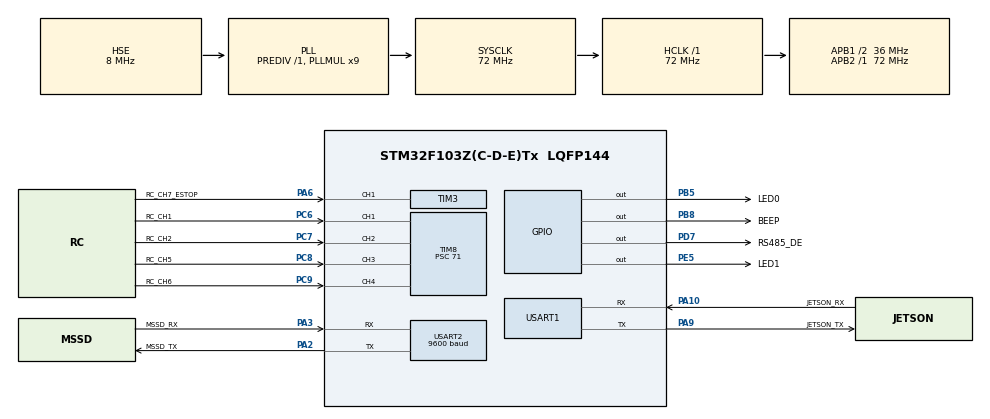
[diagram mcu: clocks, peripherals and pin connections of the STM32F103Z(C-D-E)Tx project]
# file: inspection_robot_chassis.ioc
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Dma.Request0=USART1_RX
Dma.Request1=USART1_TX
Dma.Request2=USART2_RX
Dma.Request3=USART2_TX
Dma.USART1_RX.0.Direction=DMA_PERIPH_TO_MEMORY
Dma.USART1_RX.0.Instance=DMA1_Channel5
Dma.USART1_RX.0.MemDataAlignment=DMA_MDATAALIGN_BYTE
Dma.USART1_RX.0.MemInc=DMA_MINC_ENABLE
Dma.USART1_RX.0.Mode=DMA_CIRCULAR
Dma.USART1_RX.0.PeriphDataAlignment=DMA_PDATAALIGN_BYTE
Dma.USART1_RX.0.PeriphInc=DMA_PINC_DISABLE
Dma.USART1_RX.0.Priority=DMA_PRIORITY_HIGH
Dma.USART1_TX.1.Direction=DMA_MEMORY_TO_PERIPH
Dma.USART1_TX.1.Instance=DMA1_Channel4
Dma.USART1_TX.1.MemDataAlignment=DMA_MDATAALIGN_BYTE
Dma.USART1_TX.1.MemInc=DMA_MINC_ENABLE
Dma.USART1_TX.1.Mode=DMA_NORMAL
Dma.USART1_TX.1.PeriphDataAlignment=DMA_PDATAALIGN_BYTE
Dma.USART1_TX.1.PeriphInc=DMA_PINC_DISABLE
Dma.USART1_TX.1.Priority=DMA_PRIORITY_MEDIUM
Dma.USART2_RX.2.Direction=DMA_PERIPH_TO_MEMORY
Dma.USART2_RX.2.Instance=DMA1_Channel6
Dma.USART2_RX.2.MemDataAlignment=DMA_MDATAALIGN_BYTE
Dma.USART2_RX.2.MemInc=DMA_MINC_ENABLE
Dma.USART2_RX.2.Mode=DMA_CIRCULAR
Dma.USART2_RX.2.PeriphDataAlignment=DMA_PDATAALIGN_BYTE
Dma.USART2_RX.2.PeriphInc=DMA_PINC_DISABLE
Dma.USART2_RX.2.Priority=DMA_PRIORITY_VERY_HIGH
Dma.USART2_TX.3.Direction=DMA_MEMORY_TO_PERIPH
Dma.USART2_TX.3.Instance=DMA1_Channel7
Dma.USART2_TX.3.MemDataAlignment=DMA_MDATAALIGN_BYTE
Dma.USART2_TX.3.MemInc=DMA_MINC_ENABLE
Dma.USART2_TX.3.Mode=DMA_NORMAL
Dma.USART2_TX.3.PeriphDataAlignment=DMA_PDATAALIGN_BYTE
Dma.USART2_TX.3.PeriphInc=DMA_PINC_DISABLE
Dma.USART2_TX.3.Priority=DMA_PRIORITY_HIGH
Mcu.Family=STM32F1
Mcu.Name=STM32F103Z(C-D-E)Tx
Mcu.Package=LQFP144
NVIC.DMA1_Channel4_IRQn=true\:3\:0\:true\:false\:true\:false\:true\:true
NVIC.DMA1_Channel5_IRQn=true\:3\:0\:true\:false\:true\:false\:true\:true
NVIC.DMA1_Channel6_IRQn=true\:1\:0\:true\:false\:true\:false\:true\:true
NVIC.DMA1_Channel7_IRQn=true\:1\:0\:true\:false\:true\:false\:true\:true
NVIC.PriorityGroup=NVIC_PRIORITYGROUP_4
NVIC.TIM3_IRQn=true\:0\:0\:false\:false\:true\:true\:true\:true
NVIC.TIM8_CC_IRQn=true\:2\:0\:true\:false\:true\:true\:true\:true
NVIC.USART1_IRQn=true\:3\:0\:true\:false\:true\:true\:true\:true
NVIC.USART2_IRQn=true\:1\:0\:true\:false\:true\:true\:true\:true
OSC_IN.Mode=HSE-External-Oscillator
OSC_IN.Signal=RCC_OSC_IN
OSC_OUT.Mode=HSE-External-Oscillator
OSC_OUT.Signal=RCC_OSC_OUT
PA10.GPIO_Label=JETSON_RX
PA10.Mode=Asynchronous
PA10.Signal=USART1_RX
PA13.Mode=Serial_Wire
PA13.Signal=SYS_JTMS-SWDIO
PA14.Mode=Serial_Wire
PA14.Signal=SYS_JTCK-SWCLK
PA2.GPIO_Label=MSSD_TX
PA2.Mode=Asynchronous
PA2.Signal=USART2_TX
PA3.GPIO_Label=MSSD_RX
PA3.Mode=Asynchronous
PA3.Signal=USART2_RX
PA6.GPIO_Label=RC_CH7_ESTOP
PA6.Signal=S_TIM3_CH1
PA9.GPIO_Label=JETSON_TX
PA9.Mode=Asynchronous
PA9.Signal=USART1_TX
PB5.GPIO_Label=LED0
PB5.PinState=GPIO_PIN_SET
PB5.Signal=GPIO_Output
PB8.GPIO_Label=BEEP
PB8.Signal=GPIO_Output
PC6.GPIO_Label=RC_CH1
PC6.Signal=S_TIM8_CH1
PC7.GPIO_Label=RC_CH2
PC7.Signal=S_TIM8_CH2
PC8.GPIO_Label=RC_CH5
PC8.Signal=S_TIM8_CH3
PC9.GPIO_Label=RC_CH6
PC9.Signal=S_TIM8_CH4
PD7.GPIO_Label=RS485_DE
PD7.GPIO_PuPd=GPIO_NOPULL
PD7.Signal=GPIO_Output
PE5.GPIO_Label=LED1
PE5.PinState=GPIO_PIN_SET
PE5.Signal=GPIO_Output
ProjectManager.HeapSize=0x200
ProjectManager.StackSize=0x400
ProjectManager.TargetToolchain=CMake
RCC.AHBFreq_Value=72000000
RCC.APB1CLKDivider=RCC_HCLK_DIV2
RCC.APB1Freq_Value=36000000
RCC.APB1TimFreq_Value=72000000
RCC.APB2Freq_Value=72000000
RCC.APB2TimFreq_Value=72000000
RCC.HCLKFreq_Value=72000000
RCC.PLLMUL=RCC_PLL_MUL9
RCC.PLLSourceVirtual=RCC_PLLSOURCE_HSE
RCC.SYSCLKFreq_VALUE=72000000
RCC.SYSCLKSource=RCC_SYSCLKSOURCE_PLLCLK
RCC.USBFreq_Value=72000000
SH.S_TIM3_CH1.0=TIM3_CH1,Input_Capture1_from_TI1
SH.S_TIM8_CH1.0=TIM8_CH1,Input_Capture1_from_TI1
SH.S_TIM8_CH2.0=TIM8_CH2,Input_Capture2_from_TI2
SH.S_TIM8_CH3.0=TIM8_CH3,Input_Capture3_from_TI3
SH.S_TIM8_CH4.0=TIM8_CH4,Input_Capture4_from_TI4
TIM3.Channel-Input_Capture1_from_TI1=TIM_CHANNEL_1
TIM3.ICFilter_CH1=8
TIM3.Prescaler=71
TIM8.Channel-Input_Capture1_from_TI1=TIM_CHANNEL_1
TIM8.Channel-Input_Capture2_from_TI2=TIM_CHANNEL_2
TIM8.Channel-Input_Capture3_from_TI3=TIM_CHANNEL_3
TIM8.Channel-Input_Capture4_from_TI4=TIM_CHANNEL_4
TIM8.ICFilter_CH1=8
TIM8.ICFilter_CH2=8
TIM8.ICFilter_CH3=8
TIM8.ICFilter_CH4=8
TIM8.ICPolarity_CH1=TIM_INPUTCHANNELPOLARITY_RISING
TIM8.Prescaler=71
USART1.VirtualMode=VM_ASYNC
USART2.BaudRate=9600
USART2.VirtualMode=VM_ASYNC
VP_TIM3_VS_ClockSourceINT.Mode=Internal
VP_TIM8_VS_ClockSourceINT.Mode=Internal
board=custom

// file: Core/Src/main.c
/* USER CODE BEGIN Header */
/**
  ******************************************************************************
  * @file           : main.c
  * @brief          : Main program body
  ******************************************************************************
  * @attention
  *
  * Copyright (c) 2026 STMicroelectronics.
  * All rights reserved.
  *
  * This software is licensed under terms that can be found in the LICENSE file
  * in the root directory of this software component.
  * If no LICENSE file comes with this software, it is provided AS-IS.
  *
  ******************************************************************************
  */
/* USER CODE END Header */
#include "main.h"
#include "dma.h"
#include "tim.h"
#include "usart.h"
#include "gpio.h"

/* USER CODE BEGIN Includes */
#include "chassis_app.h"

/* USER CODE END Includes */

/* USER CODE BEGIN PV */
static chassis_app_t chassis_app;
static bool chassis_app_ready;

/* USER CODE END PV */

void SystemClock_Config(void);

int main(void)
{

  /* MCU Configuration--------------------------------------------------------*/

  /* Reset of all peripherals, Initializes the Flash interface and the Systick. */
  HAL_Init();

  /* Configure the system clock */
  SystemClock_Config();

  /* Initialize all configured peripherals */
  MX_GPIO_Init();
  MX_DMA_Init();
  MX_USART1_UART_Init();
  MX_USART2_UART_Init();
  MX_TIM3_Init();
  MX_TIM8_Init();
  /* USER CODE BEGIN 2 */
  {
    const chassis_app_config_t config = chassis_app_wheel_rc_config();

    chassis_app_ready =
        chassis_app_init(&chassis_app,
                         &config,
                         &huart2,
                         huart2.hdmarx,
                         huart2.hdmatx,
                         RS485_DE_GPIO_Port,
                         RS485_DE_Pin) &&
        chassis_app_attach_status_outputs(&chassis_app,
                                          BEEP_GPIO_Port,
                                          BEEP_Pin) &&
        chassis_app_start(&chassis_app);
  }

  /* USER CODE END 2 */

  /* Infinite loop */
  while (1)
  {

    /* USER CODE BEGIN 3 */
    if (chassis_app_ready)
    {
      chassis_app_poll(&chassis_app, HAL_GetTick());
    }
  }
  /* USER CODE END 3 */
}

void SystemClock_Config(void)
{
  RCC_OscInitTypeDef RCC_OscInitStruct = {0};
  RCC_ClkInitTypeDef RCC_ClkInitStruct = {0};

  /** Initializes the RCC Oscillators according to the specified parameters
  * in the RCC_OscInitTypeDef structure.
  */
  RCC_OscInitStruct.OscillatorType = RCC_OSCILLATORTYPE_HSE;
  RCC_OscInitStruct.HSEState = RCC_HSE_ON;
  RCC_OscInitStruct.HSEPredivValue = RCC_HSE_PREDIV_DIV1;
  RCC_OscInitStruct.HSIState = RCC_HSI_ON;
  RCC_OscInitStruct.PLL.PLLState = RCC_PLL_ON;
  RCC_OscInitStruct.PLL.PLLSource = RCC_PLLSOURCE_HSE;
  RCC_OscInitStruct.PLL.PLLMUL = RCC_PLL_MUL9;
  if (HAL_RCC_OscConfig(&RCC_OscInitStruct) != HAL_OK)
  {
    Error_Handler();
  }

  /** Initializes the CPU, AHB and APB buses clocks
  */
  RCC_ClkInitStruct.ClockType = RCC_CLOCKTYPE_HCLK|RCC_CLOCKTYPE_SYSCLK
                              |RCC_CLOCKTYPE_PCLK1|RCC_CLOCKTYPE_PCLK2;
  RCC_ClkInitStruct.SYSCLKSource = RCC_SYSCLKSOURCE_PLLCLK;
  RCC_ClkInitStruct.AHBCLKDivider = RCC_SYSCLK_DIV1;
  RCC_ClkInitStruct.APB1CLKDivider = RCC_HCLK_DIV2;
  RCC_ClkInitStruct.APB2CLKDivider = RCC_HCLK_DIV1;

  if (HAL_RCC_ClockConfig(&RCC_ClkInitStruct, FLASH_LATENCY_2) != HAL_OK)
  {
    Error_Handler();
  }
}

void Error_Handler(void)
{
  __disable_irq();
  while (1)
  {
  }
}
